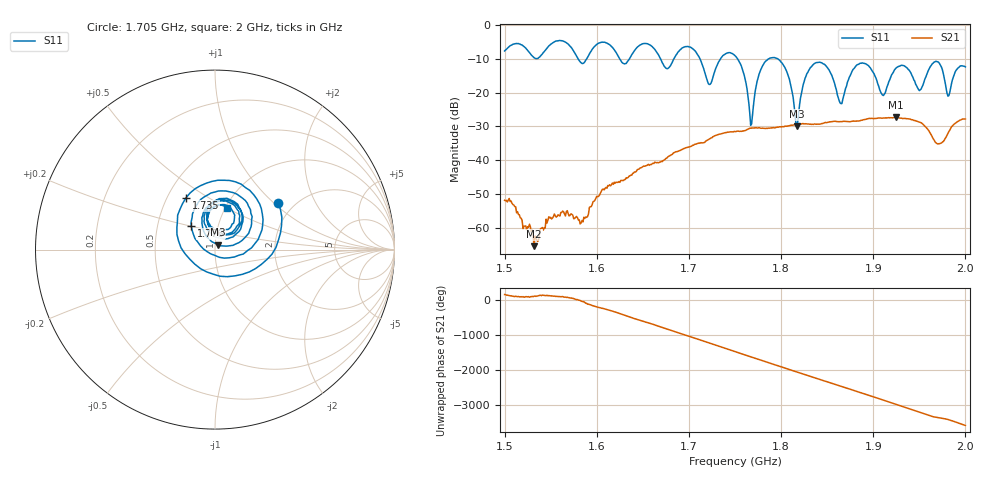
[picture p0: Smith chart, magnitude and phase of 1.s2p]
! NanoVNA-App by SYSJOINT et al v1.1.209 (+OD18)
! Date: 2026-01-21 14:53:06
! Start: 1,5GHz Stop: 2GHz Points: 501
! S-Parameter data: F S11 S21 S12 S22
# Hz S RI R 50
!  Frequency  S11_Real  S11_Imag  S21_Real  S21_Imag  S12_Real  S12_Imag  S22_Real  S22_Imag
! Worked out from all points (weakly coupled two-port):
!   501 points, 1.5 GHz to 2 GHz, reference 50 ohm
!   highest |S21| = -27.33 dB at 1.925 GHz (marker M1); lowest = -65.5 dB at 1.532 GHz (marker M2)
!   lowest |S11| = -30.0 dB at 1.817 GHz (marker M3), VSWR 1.07, Z = 51.4 + j2.9 ohm
!   |S11| at or under -10 dB: 1.712 GHz to 1.734 GHz (22.02 MHz wide, 1.28 % of centre); 1.753 GHz to 1.786 GHz (33.05 MHz wide, 1.87 % of centre); 1.797 GHz to end of sweep (the widest 3 of 6)
!   S12 and S22 are empty: the file has one direction only
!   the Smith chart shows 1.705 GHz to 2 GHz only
!   S11 on the Smith chart (normalised r, x): 1.705 GHz: 1.66, +1.08; 1.735 GHz: 0.62, +0.40; 1.776 GHz: 0.74, +0.20; 2 GHz: 1.02, +0.50
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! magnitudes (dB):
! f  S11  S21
! 1.5 GHz  -7.6  -51.9
! 1.532 GHz  -9.6  -65.5
! 1.561 GHz  -4.5  -55.5
! 1.584 GHz  -11.3  -57.9
! 1.667 GHz  -8.8  -40.8
! 1.705 GHz  -7.1  -35.6
! 1.722 GHz  -17.6  -33.7
! 1.735 GHz  -9.6  -32.2
! 1.75 GHz  -9.0  -31.5
! 1.767 GHz  -29.7  -30.5
! 1.776 GHz  -14.6  -30.3
! 1.8 GHz  -10.9  -30.1
! 1.817 GHz  -30.0  -29.4
! 1.834 GHz  -11.9  -29.3
! 1.865 GHz  -23.2  -28.6
! 1.884 GHz  -11.6  -28.4
! 1.917 GHz  -16.7  -27.4
! 1.925 GHz  -12.6  -27.3
! 1.95 GHz  -19.3  -28.7
! 1.97 GHz  -10.8  -35.2
! 1.982 GHz  -20.9  -31.5
! 2 GHz  -12.3  -27.8
